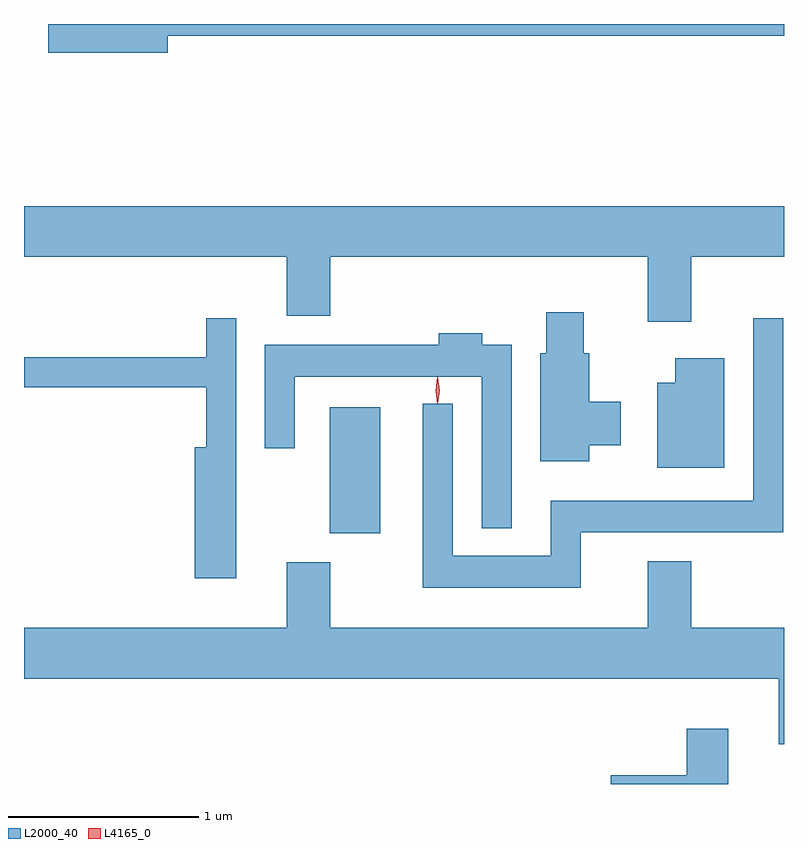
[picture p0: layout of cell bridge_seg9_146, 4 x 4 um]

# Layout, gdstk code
import gdstk
lib = gdstk.Library(unit=1e-6, precision=1e-09)
def R(c, l, rs):  # rectangles x0, y0, x1, y1
    for r in rs: c.add(gdstk.rectangle(r[:2], r[2:], *l))
def P(c, l, *ps):  # polygons
    for p in ps: c.add(gdstk.Polygon(p, *l))
L2000_40 = (2000, 40)
L4165_0 = (4165, 0)

bridge_seg9_146 = lib.new_cell('bridge_seg9_146')
R(bridge_seg9_146, L2000_40, [(1405.556,2070.281,1405.824,2070.944)])
P(bridge_seg9_146, L2000_40, [(1404.704,2072.901),(1407.948,2072.901),(1407.948,2072.962),(1404.076,2072.962),(1404.076,2072.811),(1404.704,2072.811)],
  [(1407.459,2071.736),(1407.948,2071.736),(1407.948,2072.004),(1403.948,2072.004),(1403.948,2071.736),(1405.331,2071.736),(1405.331,2071.426),(1405.559,2071.426),(1405.559,2071.736),(1407.231,2071.736),(1407.231,2071.396),(1407.459,2071.396)],
  [(1406.924,2070.746),(1407.089,2070.746),(1407.089,2070.974),(1406.924,2070.974),(1406.924,2071.229),(1406.894,2071.229),(1406.894,2071.444),(1406.696,2071.444),(1406.696,2071.229),(1406.666,2071.229),(1406.666,2070.661),(1406.924,2070.661)],
  [(1406.879,2070.286),(1407.944,2070.286),(1407.944,2071.413),(1407.786,2071.413),(1407.786,2070.454),(1406.721,2070.454),(1406.721,2070.164),(1406.204,2070.164),(1406.204,2070.963),(1406.046,2070.963),(1406.046,2069.996),(1406.879,2069.996)],
  [(1405.064,2071.413),(1404.906,2071.413),(1404.906,2071.209),(1403.948,2071.209),(1403.948,2071.051),(1404.906,2071.051),(1404.906,2070.734),(1404.846,2070.734),(1404.846,2070.046),(1405.064,2070.046)],
  [(1406.514,2071.274),(1406.359,2071.274),(1406.359,2071.334),(1406.131,2071.334),(1406.131,2071.274),(1405.216,2071.274),(1405.216,2070.728),(1405.374,2070.728),(1405.374,2071.106),(1406.356,2071.106),(1406.356,2070.308),(1406.514,2070.308)],
  [(1407.634,2071.204),(1407.376,2071.204),(1407.376,2071.074),(1407.281,2071.074),(1407.281,2070.626),(1407.634,2070.626)],
  [(1407.231,2070.134),(1407.231,2069.784),(1405.559,2069.784),(1405.559,2070.129),(1405.331,2070.129),(1405.331,2069.784),(1403.948,2069.784),(1403.948,2069.516),(1407.921,2069.516),(1407.921,2069.171),(1407.948,2069.171),(1407.948,2069.784),(1407.459,2069.784),(1407.459,2070.134)],
  [(1407.654,2069.254),(1407.436,2069.254),(1407.436,2069.009),(1407.036,2069.009),(1407.036,2068.962),(1407.654,2068.962)])
P(bridge_seg9_146, L4165_0, [(1406.124,2070.964),(1406.115,2071.033),(1406.124,2071.102),(1406.125,2071.103),(1406.126,2071.102),(1406.135,2071.033),(1406.126,2070.964),(1406.125,2070.964)])

lib.write_gds('bridge_seg9_146.gds')
